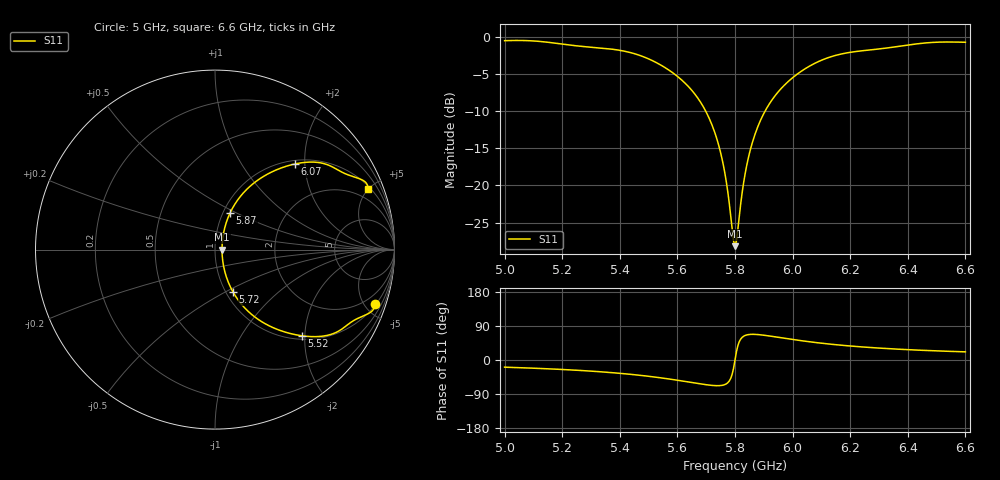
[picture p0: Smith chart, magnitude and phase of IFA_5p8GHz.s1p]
! Inverted-F antenna on FR4, 5.8 GHz (tutorial example)
# Hz S RI R 50
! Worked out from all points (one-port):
!   321 points, 5 GHz to 6.6 GHz, reference 50 ohm
!   lowest |S11| = -28.2 dB at 5.8 GHz (marker M1), VSWR 1.08, Z = 54.1 - j1.15e-13 ohm
!   |S11| at or under -10 dB: 5.698 GHz to 5.904 GHz (206.3 MHz wide, 3.56 % of centre)
!   S11 on the Smith chart (normalised r, x): 5 GHz: 1.08, -5.79; 5.52 GHz: 1.08, -1.93; 5.72 GHz: 1.08, -0.54; 5.87 GHz: 1.08, +0.47; 6.07 GHz: 1.07, +1.78; 6.6 GHz: 1.16, +5.00
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5e9  0.8902 -0.3059
5.095e9  0.8735 -0.3435
5.2e9  0.8092 -0.377
5.4e9  0.6627 -0.4666
5.52e9  0.4826 -0.48
5.6e9  0.323 -0.4346
5.67e9  0.1834 -0.3428
5.695e9  0.1387 -0.2937
5.72e9  0.0997 -0.2351
5.74e9  0.0742 -0.1819
5.76e9  0.055 -0.124
5.775e9  0.0453 -0.0783
5.795e9  0.0393 -0.0157
5.8e9  0.039 -1.07e-15
5.805e9  0.0393 0.0157
5.82e9  0.043 0.0624
5.835e9  0.051 0.1078
5.85e9  0.063 0.1514
5.87e9  0.0846 0.2056
5.895e9  0.119 0.266
5.925e9  0.1683 0.3268
6e9  0.3104 0.4297
6.07e9  0.4446 0.4771
6.135e9  0.5509 0.4874
6.2e9  0.6279 0.4723
6.4e9  0.7813 0.4031
6.495e9  0.8373 0.3765
6.6e9  0.8544 0.337
